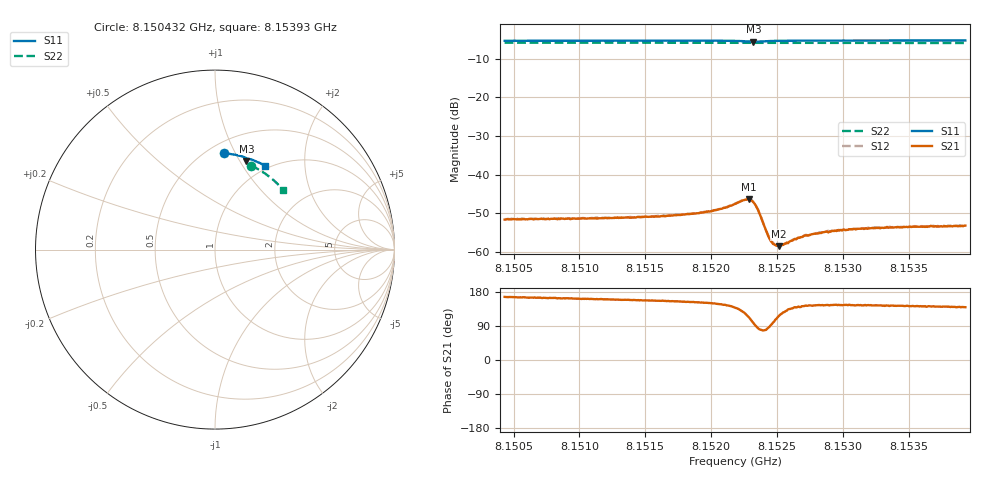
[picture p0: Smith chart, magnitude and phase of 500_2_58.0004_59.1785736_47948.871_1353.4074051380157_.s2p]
#  HZ  S  RI  R  50.00
! Rohde & Schwarz Vector Network Analyzer
! Rohde-Schwarz,ZNB20-2Port,1311601062101988,3.16
! Created: UTC 3/21/2024, 1:12:45 AM
! freq[Hz]  re:S11  im:S11  re:S21  im:S21  re:S12  im:S12  re:S22  im:S22
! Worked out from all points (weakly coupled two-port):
!   401 points, 8.150432 GHz to 8.15393 GHz, reference 50 ohm
!   highest |S21| = -46.34 dB at 8.152286 GHz (marker M1); lowest = -58.5 dB at 8.152513 GHz (marker M2)
!   lowest |S11| = -5.6 dB at 8.152321 GHz (marker M3), VSWR 3.21, Z = 39.2 + j53.5 ohm
!   |S11| at or under -10 dB: nowhere
!   |S22| runs from -6.0 to -5.9 dB; largest |S21 - S12| = 0.00012
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8.1504319e9  0.0527 0.5362  -0.00256 0.000612  -0.00259 0.000667  0.2019 0.4679
8.1510179e9  0.0935 0.5315  -0.00258 0.000886  -0.00259 0.000929  0.2356 0.451
8.1516039e9  0.1341 0.5235  -0.00264 0.00117  -0.00269 0.0012  0.2675 0.4317
8.15191e9  0.1559 0.5174  -0.00282 0.00149  -0.00283 0.00154  0.2836 0.4208
8.1520587e9  0.1671 0.5132  -0.00302 0.00189  -0.00302 0.00197  0.2915 0.4151
8.1521811e9  0.1768 0.5069  -0.00314 0.00278  -0.00311 0.0029  0.2974 0.4103
8.1522423e9  0.1802 0.5011  -0.00282 0.00372  -0.00277 0.0038  0.3004 0.4078
8.152286e9  0.1792 0.4957  -0.00187 0.00444  -0.00181 0.00448  0.3025 0.4059
8.152321e9  0.1754 0.4942  -0.000572 0.00436  -0.000513 0.00443  0.3038 0.4046
8.152356e9  0.1723 0.4968  0.000377 0.00349  0.000404 0.00351  0.3056 0.4033
8.152426e9  0.1759 0.5037  0.00022 0.00171  0.000268 0.00174  0.3091 0.401
8.1524522e9  0.1785 0.5048  -4.27e-05 0.0014  -2.42e-05 0.00142  0.3105 0.3999
8.1524785e9  0.1813 0.5054  -0.000252 0.00124  -0.000258 0.00123  0.3117 0.399
8.1525134e9  0.1847 0.5057  -0.000518 0.00108  -0.000546 0.0011  0.3137 0.3975
8.1525484e9  0.1879 0.5055  -0.000729 0.00101  -0.000729 0.00102  0.3154 0.3962
8.1526009e9  0.1924 0.5048  -0.000977 0.000984  -0.000979 0.000989  0.318 0.3939
8.1526971e9  0.2 0.5028  -0.00125 0.00097  -0.00125 0.001  0.3228 0.39
8.1527671e9  0.2051 0.5012  -0.00136 0.00102  -0.00138 0.00102  0.326 0.3872
8.1528983e9  0.2143 0.4978  -0.00148 0.00108  -0.00151 0.00107  0.3323 0.3815
8.1529945e9  0.2208 0.4953  -0.00156 0.00111  -0.00156 0.00113  0.3367 0.3775
8.153353e9  0.2442 0.485  -0.00165 0.00127  -0.0017 0.00127  0.353 0.3615
8.1539303e9  0.2798 0.4665  -0.00167 0.00143  -0.00167 0.00144  0.3774 0.3346
